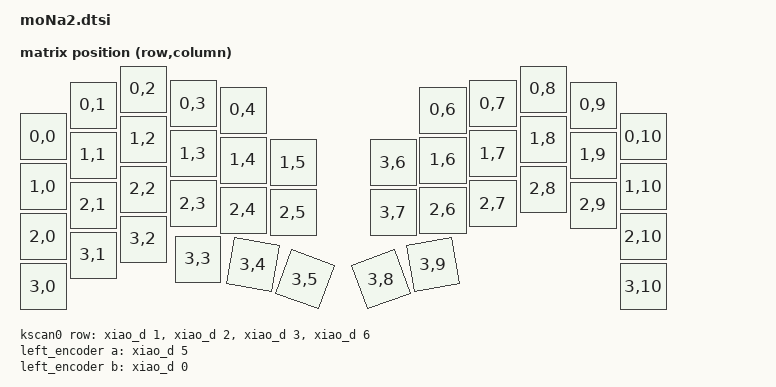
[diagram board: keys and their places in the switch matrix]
#include <dt-bindings/zmk/matrix_transform.h>
#include <physical_layouts.dtsi>

/ {
    chosen {
        zmk,physical-layout = &mona2_physical_layout;
    };

  mona2_physical_layout: mona2_physical_layout {
        compatible = "zmk,physical-layout";
        display-name = "Default";
        transform = <&default_transform>;
        kscan = <&kscan0>;

        keys  //                     w   h    x    y     rot    rx    ry
            = <&key_physical_attrs 100 100    0   95       0     0     0>
            , <&key_physical_attrs 100 100  100   32       0     0     0>
            , <&key_physical_attrs 100 100  200    0       0     0     0>
            , <&key_physical_attrs 100 100  300   29       0     0     0>
            , <&key_physical_attrs 100 100  400   42       0     0     0>
            , <&key_physical_attrs 100 100  800   42       0     0     0>
            , <&key_physical_attrs 100 100  900   29       0     0     0>
            , <&key_physical_attrs 100 100 1000    0       0     0     0>
            , <&key_physical_attrs 100 100 1100   32       0     0     0>
            , <&key_physical_attrs 100 100 1200   95       0     0     0>
            , <&key_physical_attrs 100 100    0  195       0     0     0>
            , <&key_physical_attrs 100 100  100  132       0     0     0>
            , <&key_physical_attrs 100 100  200  100       0     0     0>
            , <&key_physical_attrs 100 100  300  129       0     0     0>
            , <&key_physical_attrs 100 100  400  142       0     0     0>
            , <&key_physical_attrs 100 100  500  147       0     0     0>
            , <&key_physical_attrs 100 100  700  147       0     0     0>
            , <&key_physical_attrs 100 100  800  142       0     0     0>
            , <&key_physical_attrs 100 100  900  129       0     0     0>
            , <&key_physical_attrs 100 100 1000  100       0     0     0>
            , <&key_physical_attrs 100 100 1100  132       0     0     0>
            , <&key_physical_attrs 100 100 1200  195       0     0     0>
            , <&key_physical_attrs 100 100    0  295       0     0     0>
            , <&key_physical_attrs 100 100  100  232       0     0     0>
            , <&key_physical_attrs 100 100  200  200       0     0     0>
            , <&key_physical_attrs 100 100  300  229       0     0     0>
            , <&key_physical_attrs 100 100  400  242       0     0     0>
            , <&key_physical_attrs 100 100  500  247       0     0     0>
            , <&key_physical_attrs 100 100  700  247       0     0     0>
            , <&key_physical_attrs 100 100  800  242       0     0     0>
            , <&key_physical_attrs 100 100  900  229       0     0     0>
            , <&key_physical_attrs 100 100 1000  200       0     0     0>
            , <&key_physical_attrs 100 100 1100  232       0     0     0>
            , <&key_physical_attrs 100 100 1200  295       0     0     0>
            , <&key_physical_attrs 100 100    0  395       0     0     0>
            , <&key_physical_attrs 100 100  100  332       0     0     0>
            , <&key_physical_attrs 100 100  200  300       0     0     0>
            , <&key_physical_attrs 100 100  310  340       0     0     0>
            , <&key_physical_attrs 100 100  410  345    1000   430   455>
            , <&key_physical_attrs 100 100  510  350    2000   480   455>
            , <&key_physical_attrs 100 100  690  350 (-2000)   820   455>
            , <&key_physical_attrs 100 100  790  345 (-1000)   870   455>
            , <&key_physical_attrs 100 100 1200  395       0     0     0>
            ;
  };

    default_transform: keymap_transform_0 {
        compatible = "zmk,matrix-transform";
        columns = <11>;
        rows = <4>;               
        map = <
            RC(0,0) RC(0,1) RC(0,2) RC(0,3) RC(0,4)                     RC(0,6) RC(0,7) RC(0,8) RC(0,9) RC(0,10)
            RC(1,0) RC(1,1) RC(1,2) RC(1,3) RC(1,4) RC(1,5)     RC(3,6) RC(1,6) RC(1,7) RC(1,8) RC(1,9) RC(1,10)
            RC(2,0) RC(2,1) RC(2,2) RC(2,3) RC(2,4) RC(2,5)     RC(3,7) RC(2,6) RC(2,7) RC(2,8) RC(2,9) RC(2,10)
            RC(3,0) RC(3,1) RC(3,2) RC(3,3) RC(3,4) RC(3,5)     RC(3,8) RC(3,9)                         RC(3,10)         
        >;
    };
    
    kscan0: kscan {
        compatible = "zmk,kscan-gpio-matrix";
        label = "KSCAN";
        diode-direction = "col2row";
            row-gpios
                = <&xiao_d 1 (GPIO_ACTIVE_HIGH | GPIO_PULL_DOWN)> 
                , <&xiao_d 2 (GPIO_ACTIVE_HIGH | GPIO_PULL_DOWN)> 
                , <&xiao_d 3 (GPIO_ACTIVE_HIGH | GPIO_PULL_DOWN)> 
                , <&xiao_d 6 (GPIO_ACTIVE_HIGH | GPIO_PULL_DOWN)> 			
                ;
    };

    left_encoder: encoder_left {
        compatible = "alps,ec11";
        a-gpios = <&xiao_d 5 (GPIO_ACTIVE_HIGH | GPIO_PULL_UP)>;
        b-gpios = <&xiao_d 0 (GPIO_ACTIVE_HIGH | GPIO_PULL_UP)>;
        steps = <24>;
        status = "disabled";
    };

    right_encoder: encoder_right {
        status = "disabled";
    };

    sensors: sensors {
        compatible = "zmk,keymap-sensors";
        sensors = <&left_encoder &right_encoder>;
        triggers-per-rotation = <10>;
    };
};
